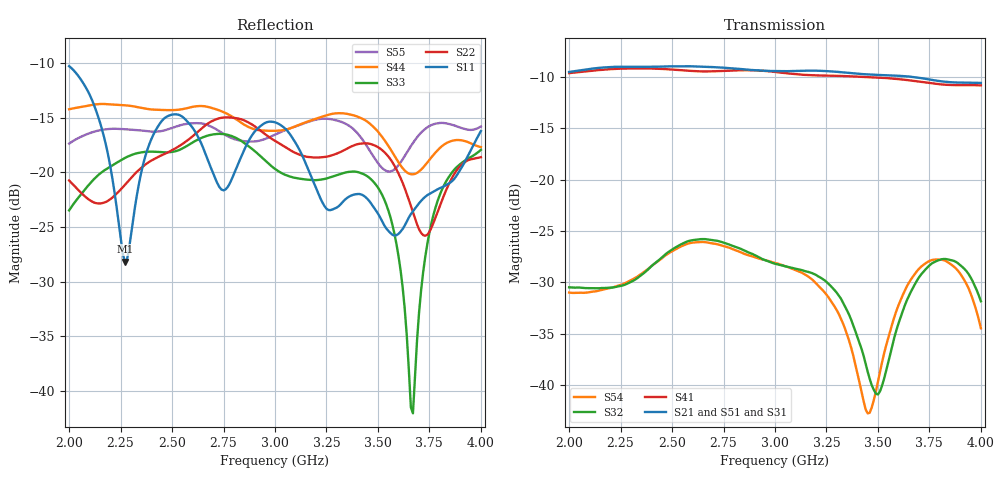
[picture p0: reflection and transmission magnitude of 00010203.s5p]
! Created with skrf 1.8.0 (http://scikit-rf.org).
# Hz S RI R 50.0
!freq ReS11 ImS11 ReS12 ImS12 ReS13 ImS13
! ReS14 ImS14 ReS15 ImS15
! ReS21 ImS21 ReS22 ImS22 ReS23 ImS23
! ReS24 ImS24 ReS25 ImS25
! ReS31 ImS31 ReS32 ImS32 ReS33 ImS33
! ReS34 ImS34 ReS35 ImS35
! ReS41 ImS41 ReS42 ImS42 ReS43 ImS43
! ReS44 ImS44 ReS45 ImS45
! ReS51 ImS51 ReS52 ImS52 ReS53 ImS53
! ReS54 ImS54 ReS55 ImS55
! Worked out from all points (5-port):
!   201 points, 2 GHz to 4 GHz, reference 50 ohm
!   strongest paths, dB at 2 GHz, 2.5 GHz, 3 GHz, 3.5 GHz, 4 GHz:
!     S21: -9.5, -9.0, -9.4, -9.8, -10.6
!     S51: -9.5, -9.1, -9.5, -9.9, -10.6
!     S41: -9.6, -9.3, -9.5, -10.1, -10.8
!     S31: -9.6, -9.3, -9.7, -10.1, -11.0
!     S32: -30.5, -26.8, -28.2, -40.9, -31.8
!     S54: -31.0, -27.0, -28.1, -39.7, -34.5
!   lowest |S11| = -28.2 dB at 2.27 GHz (marker M1), VSWR 1.08, Z = 47.5 + j2.9 ohm
!   |S11| at or under -10 dB: start of sweep to end of sweep
